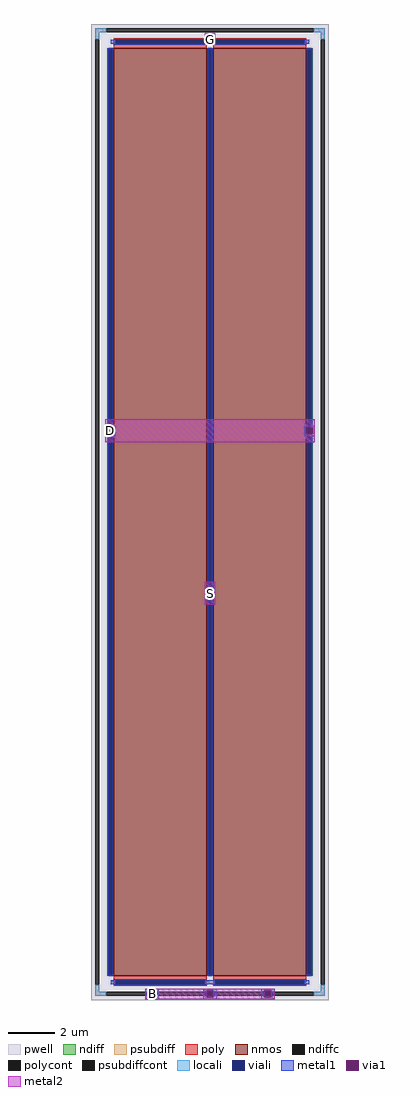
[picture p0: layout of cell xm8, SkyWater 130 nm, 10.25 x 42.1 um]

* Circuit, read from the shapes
.subckt xm8 D S G B
XM1 S G D B sky130_fd_pr__nfet_01v8 w=40 l=4 m=2
.ends

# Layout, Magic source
magic
tech sky130A
magscale 1 2
<< viali >>
rect -545 -4174 -455 -4140
rect -45 -4174 45 -4140
rect 455 -4174 545 -4140
<< metal1 >>
rect -45 4110 45 4130
rect -45 4050 -30 4110
rect 30 4050 45 4110
rect -45 4032 45 4050
rect -903 730 -813 745
rect -903 670 -888 730
rect -828 670 -813 730
rect -903 655 -813 670
rect 813 730 903 745
rect 813 670 828 730
rect 888 670 903 730
rect 813 655 903 670
rect -45 -670 45 -655
rect -45 -730 -30 -670
rect 30 -730 45 -670
rect -45 -745 45 -730
rect -560 -4127 -440 -4112
rect -560 -4140 -530 -4127
rect -470 -4140 -440 -4127
rect -560 -4174 -545 -4140
rect -455 -4174 -440 -4140
rect -560 -4187 -530 -4174
rect -470 -4187 -440 -4174
rect -560 -4202 -440 -4187
rect -60 -4127 60 -4112
rect -60 -4140 -30 -4127
rect 30 -4140 60 -4127
rect -60 -4174 -45 -4140
rect 45 -4174 60 -4140
rect -60 -4187 -30 -4174
rect 30 -4187 60 -4174
rect -60 -4202 60 -4187
rect 440 -4127 560 -4112
rect 440 -4140 470 -4127
rect 530 -4140 560 -4127
rect 440 -4174 455 -4140
rect 545 -4174 560 -4140
rect 440 -4187 470 -4174
rect 530 -4187 560 -4174
rect 440 -4202 560 -4187
<< via1 >>
rect -30 4050 30 4110
rect -888 670 -828 730
rect 828 670 888 730
rect -30 -730 30 -670
rect -530 -4140 -470 -4127
rect -530 -4174 -470 -4140
rect -530 -4187 -470 -4174
rect -30 -4140 30 -4127
rect -30 -4174 30 -4140
rect -30 -4187 30 -4174
rect 470 -4140 530 -4127
rect 470 -4174 530 -4140
rect 470 -4187 530 -4174
<< metal2 >>
rect -45 4110 45 4130
rect -45 4050 -30 4110
rect 30 4050 45 4110
rect -45 4030 45 4050
rect -903 730 903 800
rect -903 670 -888 730
rect -828 670 828 730
rect 888 670 903 730
rect -903 600 903 670
rect -45 -670 45 -600
rect -45 -730 -30 -670
rect 30 -730 45 -670
rect -45 -800 45 -730
rect -560 -4127 560 -4112
rect -560 -4187 -530 -4127
rect -470 -4187 -30 -4127
rect 30 -4187 470 -4127
rect 530 -4187 560 -4127
rect -560 -4202 560 -4187
use dev_n80_l4_f2  u_dev
transform 1 0 0 0 1 0
box -1025 -4210 1025 4210
<< labels >>
rlabel metal2 -858 700 -858 700 0 D
port 1 nsew
rlabel metal2 0 -700 0 -700 0 S
port 2 nsew
rlabel metal2 0 4080 0 4080 0 G
port 3 nsew
rlabel metal2 -500 -4157 -500 -4157 0 B
port 4 nsew
<< end >>

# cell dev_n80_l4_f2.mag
magic
tech sky130A
magscale 1 2
<< pwell >>
rect -1025 -4210 1025 4210
<< nmos >>
rect -829 -4000 -29 4000
rect 29 -4000 829 4000
<< ndiff >>
rect -887 3988 -829 4000
rect -887 -3988 -875 3988
rect -841 -3988 -829 3988
rect -887 -4000 -829 -3988
rect -29 3988 29 4000
rect -29 -3988 -17 3988
rect 17 -3988 29 3988
rect -29 -4000 29 -3988
rect 829 3988 887 4000
rect 829 -3988 841 3988
rect 875 -3988 887 3988
rect 829 -4000 887 -3988
<< ndiffc >>
rect -875 -3988 -841 3988
rect -17 -3988 17 3988
rect 841 -3988 875 3988
<< psubdiff >>
rect -989 4140 -893 4174
rect 893 4140 989 4174
rect -989 4078 -955 4140
rect 955 4078 989 4140
rect -989 -4140 -955 -4078
rect 955 -4140 989 -4078
rect -989 -4174 -893 -4140
rect 893 -4174 989 -4140
<< psubdiffcont >>
rect -893 4140 893 4174
rect -989 -4078 -955 4078
rect 955 -4078 989 4078
rect -893 -4174 893 -4140
<< poly >>
rect -829 4072 -29 4088
rect -829 4038 -813 4072
rect -45 4038 -29 4072
rect -829 4000 -29 4038
rect 29 4072 829 4088
rect 29 4038 45 4072
rect 813 4038 829 4072
rect 29 4000 829 4038
rect -829 -4038 -29 -4000
rect -829 -4072 -813 -4038
rect -45 -4072 -29 -4038
rect -829 -4088 -29 -4072
rect 29 -4038 829 -4000
rect 29 -4072 45 -4038
rect 813 -4072 829 -4038
rect 29 -4088 829 -4072
<< polycont >>
rect -813 4038 -45 4072
rect 45 4038 813 4072
rect -813 -4072 -45 -4038
rect 45 -4072 813 -4038
<< locali >>
rect -989 4140 -893 4174
rect 893 4140 989 4174
rect -989 4078 -955 4140
rect 955 4078 989 4140
rect -858 4038 -813 4072
rect -45 4038 45 4072
rect 813 4038 858 4072
rect -875 3988 -841 4004
rect -875 -4004 -841 -3988
rect -17 3988 17 4004
rect -17 -4004 17 -3988
rect 841 3988 875 4004
rect 841 -4004 875 -3988
rect -858 -4072 -813 -4038
rect -45 -4072 45 -4038
rect 813 -4072 858 -4038
rect -989 -4140 -955 -4078
rect 955 -4140 989 -4078
rect -989 -4174 -893 -4140
rect 893 -4174 989 -4140
<< viali >>
rect -813 4038 -45 4072
rect 45 4038 813 4072
rect -875 -3988 -841 3988
rect -17 -3988 17 3988
rect 841 -3988 875 3988
rect -813 -4072 -45 -4038
rect 45 -4072 813 -4038
<< metal1 >>
rect -825 4072 -33 4078
rect 33 4072 825 4078
rect -858 4038 -813 4072
rect -45 4038 45 4072
rect 813 4038 858 4072
rect -825 4032 -33 4038
rect 33 4032 825 4038
rect -881 3988 -835 4000
rect -881 -3988 -875 3988
rect -841 -3988 -835 3988
rect -881 -4000 -835 -3988
rect -23 3988 23 4000
rect -23 -3988 -17 3988
rect 17 -3988 23 3988
rect -23 -4000 23 -3988
rect 835 3988 881 4000
rect 835 -3988 841 3988
rect 875 -3988 881 3988
rect 835 -4000 881 -3988
rect -825 -4038 -33 -4032
rect 33 -4038 825 -4032
rect -858 -4072 -813 -4038
rect -45 -4072 45 -4038
rect 813 -4072 858 -4038
rect -825 -4078 -33 -4072
rect 33 -4078 825 -4072
<< labels >>
rlabel psubdiffcont 0 -4157 0 -4157 0 B
port 1 nsew
rlabel ndiffc -858 0 -858 0 0 D0
port 2 nsew
rlabel polycont -429 4055 -429 4055 0 G
port 3 nsew
rlabel ndiffc 0 0 0 0 0 S1
port 4 nsew
rlabel polycont 429 4055 429 4055 0 G
port 3 nsew
<< properties >>
string FIXED_BBOX -972 -4157 972 4157
<< end >>
